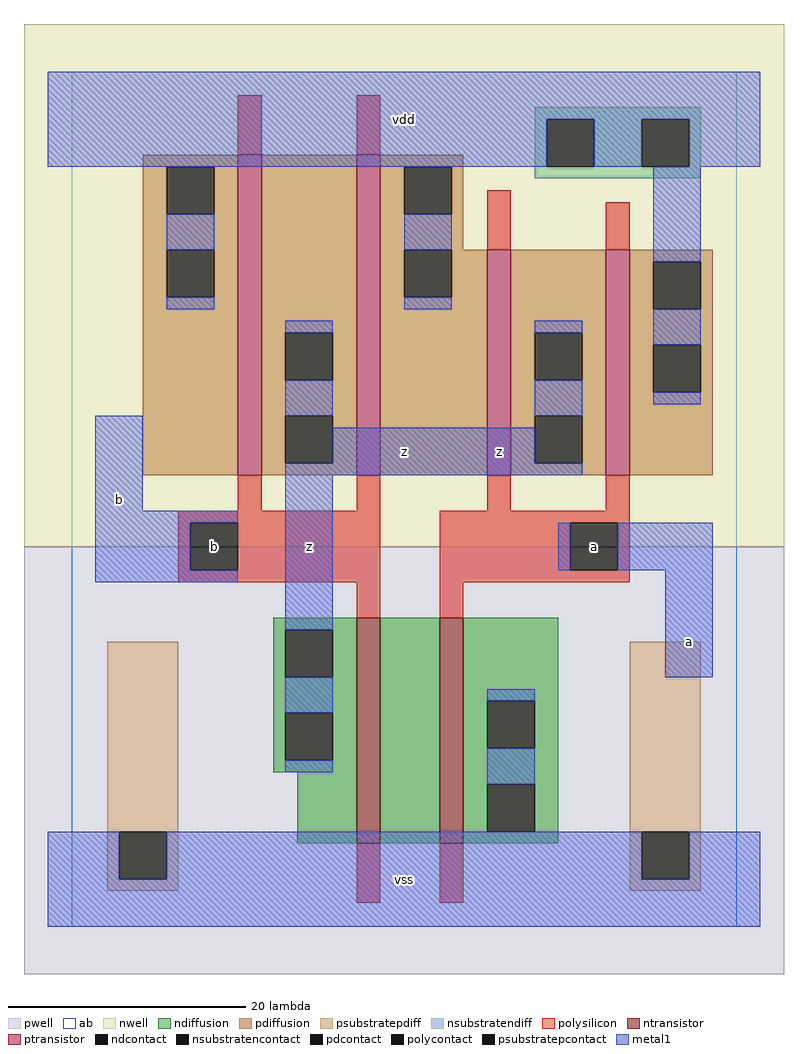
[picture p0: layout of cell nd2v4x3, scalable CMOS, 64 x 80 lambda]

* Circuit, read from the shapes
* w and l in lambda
.subckt nd2v4x3 a b vdd vss z
M1 n1 b z vss nfet w=19 l=2
M2 vss a n1 vss nfet w=19 l=2
M3 z b vdd vdd pfet w=27 l=2 m=2
M4 z a vdd vdd pfet w=19 l=2 m=2
.ends

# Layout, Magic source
magic
tech scmos
<< ab >>
rect 0 0 56 72
<< pwell >>
rect -4 -4 60 32
<< nwell >>
rect -4 32 60 76
<< polysilicon >>
rect 14 65 16 70
rect 24 65 26 70
rect 35 57 37 62
rect 45 57 47 61
rect 14 35 16 38
rect 24 35 26 38
rect 35 35 37 38
rect 45 35 47 38
rect 9 34 26 35
rect 9 30 10 34
rect 14 30 26 34
rect 9 29 26 30
rect 24 26 26 29
rect 31 34 47 35
rect 31 30 42 34
rect 46 30 47 34
rect 31 29 47 30
rect 31 26 33 29
rect 24 2 26 7
rect 31 2 33 7
<< ndiffusion >>
rect 17 25 24 26
rect 17 21 18 25
rect 22 21 24 25
rect 17 18 24 21
rect 17 14 18 18
rect 22 14 24 18
rect 17 13 24 14
rect 19 7 24 13
rect 26 7 31 26
rect 33 19 41 26
rect 33 15 35 19
rect 39 15 41 19
rect 33 12 41 15
rect 33 8 35 12
rect 39 8 41 12
rect 33 7 41 8
<< pdiffusion >>
rect 6 64 14 65
rect 6 60 8 64
rect 12 60 14 64
rect 6 57 14 60
rect 6 53 8 57
rect 12 53 14 57
rect 6 38 14 53
rect 16 50 24 65
rect 16 46 18 50
rect 22 46 24 50
rect 16 43 24 46
rect 16 39 18 43
rect 22 39 24 43
rect 16 38 24 39
rect 26 64 33 65
rect 26 60 28 64
rect 32 60 33 64
rect 26 57 33 60
rect 26 53 28 57
rect 32 53 35 57
rect 26 38 35 53
rect 37 50 45 57
rect 37 46 39 50
rect 43 46 45 50
rect 37 43 45 46
rect 37 39 39 43
rect 43 39 45 43
rect 37 38 45 39
rect 47 56 54 57
rect 47 52 49 56
rect 53 52 54 56
rect 47 49 54 52
rect 47 45 49 49
rect 53 45 54 49
rect 47 38 54 45
<< metal1 >>
rect -2 68 58 72
rect -2 64 40 68
rect 44 64 48 68
rect 52 64 58 68
rect 8 57 12 60
rect 8 52 12 53
rect 28 57 32 60
rect 28 52 32 53
rect 49 56 53 64
rect 18 50 22 51
rect 18 43 22 46
rect 2 35 6 43
rect 39 50 43 51
rect 39 43 43 46
rect 49 49 53 52
rect 49 44 53 45
rect 22 39 39 42
rect 18 38 43 39
rect 2 34 14 35
rect 2 30 10 34
rect 2 29 14 30
rect 18 25 22 38
rect 41 30 42 34
rect 46 30 54 34
rect 50 21 54 30
rect 18 18 22 21
rect 18 13 22 14
rect 35 19 39 20
rect 35 12 39 15
rect -2 4 4 8
rect 8 4 48 8
rect 52 4 58 8
rect -2 0 58 4
<< ntransistor >>
rect 24 7 26 26
rect 31 7 33 26
<< ptransistor >>
rect 14 38 16 65
rect 24 38 26 65
rect 35 38 37 57
rect 45 38 47 57
<< polycontact >>
rect 10 30 14 34
rect 42 30 46 34
<< ndcontact >>
rect 18 21 22 25
rect 18 14 22 18
rect 35 15 39 19
rect 35 8 39 12
<< pdcontact >>
rect 8 60 12 64
rect 8 53 12 57
rect 18 46 22 50
rect 18 39 22 43
rect 28 60 32 64
rect 28 53 32 57
rect 39 46 43 50
rect 39 39 43 43
rect 49 52 53 56
rect 49 45 53 49
<< psubstratepcontact >>
rect 4 4 8 8
rect 48 4 52 8
<< nsubstratencontact >>
rect 40 64 44 68
rect 48 64 52 68
<< psubstratepdiff >>
rect 3 8 9 24
rect 3 4 4 8
rect 8 4 9 8
rect 47 8 53 24
rect 3 3 9 4
rect 47 4 48 8
rect 52 4 53 8
rect 47 3 53 4
<< nsubstratendiff >>
rect 39 68 53 69
rect 39 64 40 68
rect 44 64 48 68
rect 52 64 53 68
rect 39 63 53 64
<< labels >>
rlabel metal1 4 36 4 36 6 b
rlabel polycontact 12 32 12 32 6 b
rlabel metal1 20 32 20 32 6 z
rlabel metal1 28 4 28 4 6 vss
rlabel metal1 36 40 36 40 6 z
rlabel metal1 28 40 28 40 6 z
rlabel metal1 28 68 28 68 6 vdd
rlabel polycontact 44 32 44 32 6 a
rlabel metal1 52 24 52 24 6 a
<< end >>
